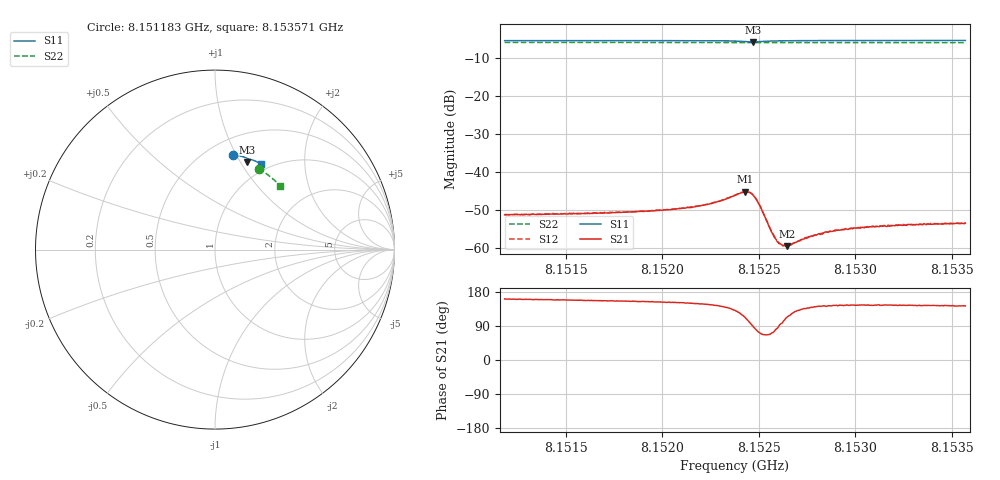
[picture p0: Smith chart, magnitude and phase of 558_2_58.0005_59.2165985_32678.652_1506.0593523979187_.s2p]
#  HZ  S  RI  R  50.00
! Rohde & Schwarz Vector Network Analyzer
! Rohde-Schwarz,ZNB20-2Port,1311601062101988,3.16
! Created: UTC 3/21/2024, 1:15:17 AM
! freq[Hz]  re:S11  im:S11  re:S21  im:S21  re:S12  im:S12  re:S22  im:S22
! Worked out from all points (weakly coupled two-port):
!   401 points, 8.151183 GHz to 8.153571 GHz, reference 50 ohm
!   highest |S21| = -45.21 dB at 8.152431 GHz (marker M1); lowest = -59.6 dB at 8.152646 GHz (marker M2)
!   lowest |S11| = -5.7 dB at 8.152472 GHz (marker M3), VSWR 3.17, Z = 40.1 + j53.6 ohm
!   |S11| at or under -10 dB: nowhere
!   |S22| runs from -5.9 to -5.8 dB; largest |S21 - S12| = 0.00013
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8.1511825e9  0.1028 0.5296  -0.00257 0.000876  -0.00257 0.000912  0.2439 0.4496
8.1515826e9  0.1306 0.5239  -0.00262 0.00106  -0.0026 0.00111  0.2658 0.4363
8.1519828e9  0.1587 0.5167  -0.00276 0.00139  -0.00276 0.00147  0.2872 0.4219
8.15215e9  0.171 0.5124  -0.00294 0.0017  -0.00297 0.0018  0.2957 0.4156
8.1522097e9  0.1757 0.5102  -0.00307 0.00193  -0.00309 0.00196  0.2988 0.4134
8.1522993e9  0.1833 0.5061  -0.00325 0.00253  -0.00324 0.00257  0.3034 0.4096
8.1523769e9  0.1892 0.4986  -0.0032 0.00369  -0.00319 0.00379  0.3072 0.4064
8.1524306e9  0.1884 0.4899  -0.002 0.00511  -0.00194 0.00516  0.3097 0.4041
8.1524545e9  0.1841 0.4873  -0.000766 0.00529  -0.000685 0.00531  0.3107 0.4031
8.1524724e9  0.1803 0.4878  0.000242 0.00486  0.000281 0.00491  0.3114 0.4025
8.1525023e9  0.1767 0.4927  0.00111 0.00355  0.00119 0.00357  0.3127 0.4016
8.152562e9  0.1812 0.5012  0.000604 0.00159  0.000654 0.00161  0.3158 0.3998
8.1525919e9  0.1849 0.5027  0.000164 0.00125  0.000204 0.00124  0.3174 0.3985
8.1526158e9  0.1877 0.503  -0.000117 0.0011  -8.69e-05 0.00109  0.3185 0.3975
8.1526456e9  0.1909 0.5033  -0.000403 0.000967  -0.000396 0.000989  0.3201 0.3964
8.1526576e9  0.1921 0.5031  -0.000488 0.000963  -0.000471 0.000975  0.3208 0.3958
8.1527352e9  0.1991 0.502  -0.000938 0.000906  -0.000959 0.000939  0.3245 0.3928
8.152777e9  0.2026 0.5011  -0.00107 0.000933  -0.00108 0.000925  0.3265 0.3908
8.1528546e9  0.2085 0.4992  -0.00126 0.000984  -0.00127 0.000983  0.3304 0.3876
8.1529621e9  0.2162 0.4965  -0.00142 0.00101  -0.00144 0.00105  0.3354 0.3831
8.1531771e9  0.2308 0.4906  -0.00157 0.0011  -0.00157 0.00114  0.3455 0.3737
8.1535713e9  0.256 0.4788  -0.00168 0.00129  -0.00165 0.00128  0.363 0.3557
